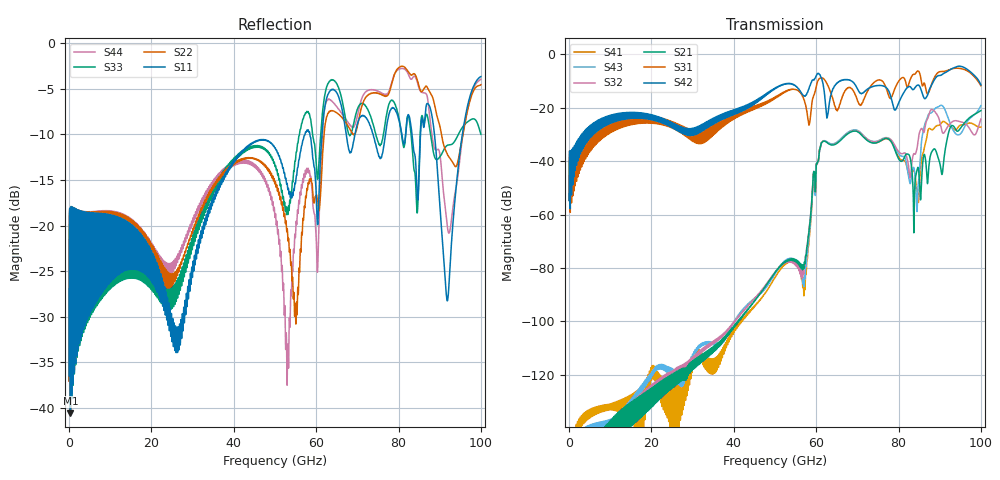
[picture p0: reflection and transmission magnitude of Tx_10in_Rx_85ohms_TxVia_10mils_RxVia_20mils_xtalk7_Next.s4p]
! Info: Touchstone file created by Circ.  Input file=Tx_10in_Rx_85ohms_TxVia_10mils_RxVia_20mils.circ
# Hz S RI R 50
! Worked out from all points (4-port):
!   10000 points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, 10 MHz to 100 GHz, reference 50 ohm
!   strongest paths, dB at 10 MHz, 25.01 GHz, 50.01 GHz, 75.01 GHz, 100 GHz:
!     S42: -54.7, -27.5, -12.7, -11.7, -11.5
!     S31: -54.8, -27.6, -16.1, -9.6, -11.8
!     S21: -, -120.8, -81.6, -32.9, -21.1
!     S32: -, -120.4, -81.4, -32.5, -24.2
!     S43: -153.7, -118.7, -81.8, -32.4, -19.2
!     S41: -153.9, -122.5, -83.4, -32.9, -27.2
!   lowest |S11| = -40.6 dB at 320 MHz (marker M1), VSWR 1.02, Z = 49.3 - j0.594 ohm
!   |S11| at or under -10 dB: start of sweep to 57.28 GHz; 73.83 GHz to 76.83 GHz (3.002 GHz wide, 3.98 % of centre); 88.73 GHz to 95.51 GHz (6.779 GHz wide, 7.36 % of centre)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
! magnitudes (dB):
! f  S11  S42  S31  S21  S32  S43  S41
! 10 MHz  -36.5  -54.7  -54.8  -  -  -153.7  -153.9
! 320 MHz  -40.6  -46.2  -46.2  -179.9  -174.7  -166.9  -154.8
! 56.94 GHz  -10.5  -15.5  -16.6  -80.0  -82.2  -85.4  -87.0
! 61.64 GHz  -8.7  -10.7  -8.9  -32.6  -32.6  -32.6  -32.5
! 84.52 GHz  -16.4  -11.6  -6.3  -43.2  -34.9  -58.5  -50.8
! 87.44 GHz  -6.8  -13.4  -13.9  -41.0  -22.3  -22.3  -27.8
! 100 GHz  -3.7  -11.5  -11.8  -21.1  -24.2  -19.2  -27.2
